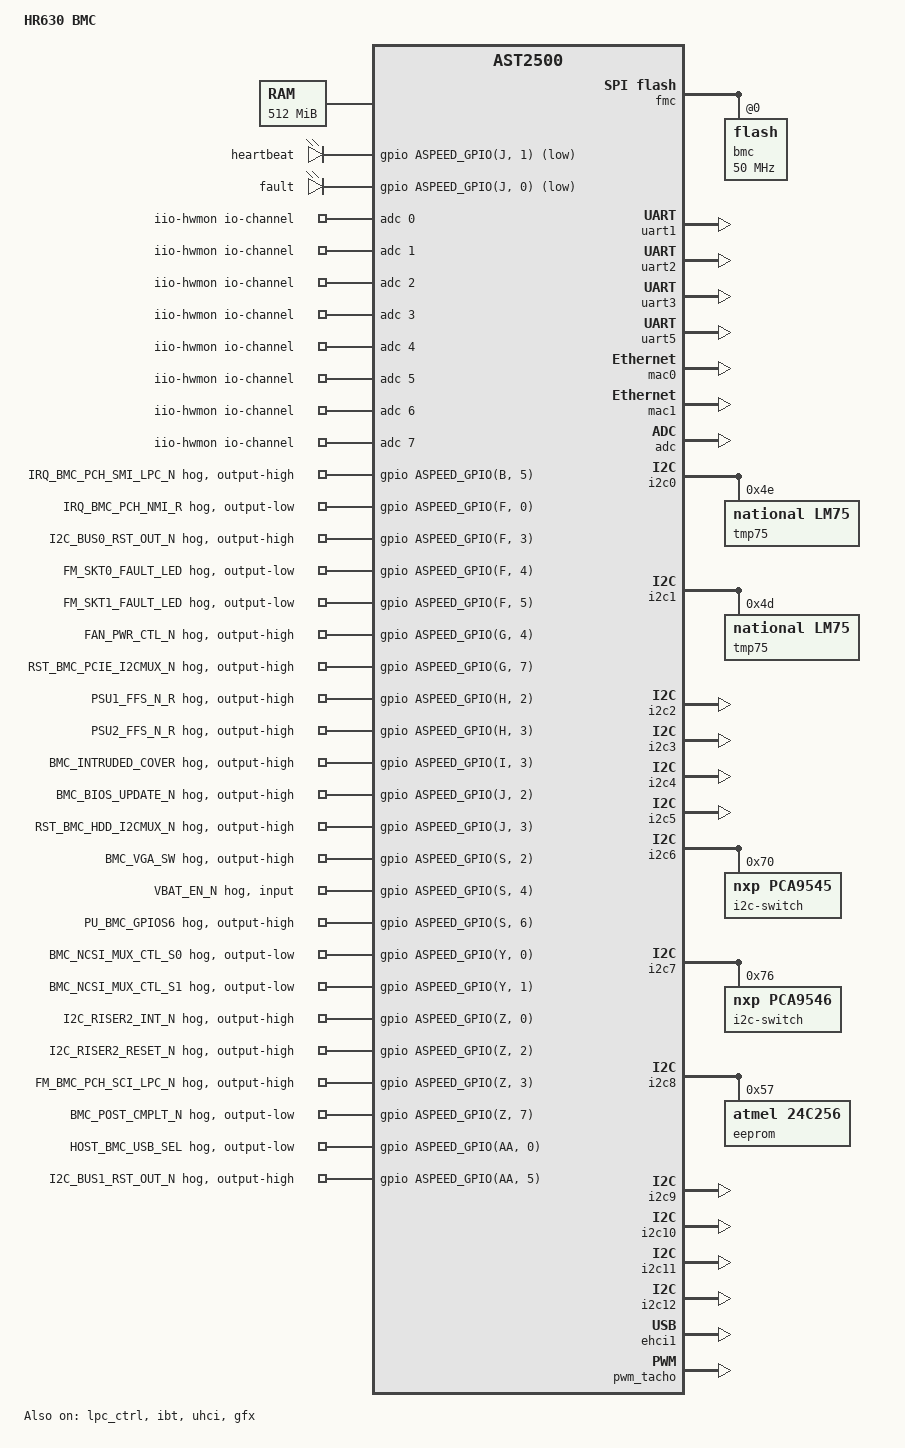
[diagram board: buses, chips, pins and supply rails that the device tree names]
// SPDX-License-Identifier: GPL-2.0+
/*
 * Device Tree file for Lenovo Hr630 platform
 *
 * Copyright (C) 2019-present Lenovo
 */

/dts-v1/;

#include "aspeed-g5.dtsi"
#include <dt-bindings/gpio/aspeed-gpio.h>

/ {
	model = "HR630 BMC";
	compatible = "lenovo,hr630-bmc", "aspeed,ast2500";

	aliases {
		i2c14 = &i2c_rbp;
		i2c15 = &i2c_fbp1;
		i2c16 = &i2c_fbp2;
		i2c17 = &i2c_fbp3;
		i2c18 = &i2c_riser2;
		i2c19 = &i2c_pcie4;
		i2c20 = &i2c_riser1;
		i2c21 = &i2c_ocp;
	};

	chosen {
		stdout-path = &uart5;
		bootargs = "console=tty0 console=ttyS4,115200 earlyprintk";
	};

	memory@80000000 {
		device_type = "memory";
		reg = <0x80000000 0x20000000>;
	};

	reserved-memory {
		#address-cells = <1>;
		#size-cells = <1>;
		ranges;

		flash_memory: region@98000000 {
			no-map;
			reg = <0x98000000 0x00100000>; /* 1M */
		};

		gfx_memory: framebuffer {
			size = <0x01000000>;
			alignment = <0x01000000>;
			compatible = "shared-dma-pool";
			reusable;
		};
	};

	leds {
		compatible = "gpio-leds";

		heartbeat {
			gpios = <&gpio ASPEED_GPIO(J, 1) GPIO_ACTIVE_LOW>;
		};

		fault {
			gpios = <&gpio ASPEED_GPIO(J, 0) GPIO_ACTIVE_LOW>;
		};
	};

	iio-hwmon {
		compatible = "iio-hwmon";
		io-channels = <&adc 0>, <&adc 1>, <&adc 2>, <&adc 3>,
		<&adc 4>, <&adc 5>, <&adc 6>, <&adc 7>,
		<&adc 8>, <&adc 9>, <&adc 10>,
		<&adc 12>, <&adc 13>, <&adc 14>;
	};

};

&fmc {
	status = "okay";
	flash@0 {
		status = "okay";
		m25p,fast-read;
		label = "bmc";
		spi-max-frequency = <50000000>;
#include "openbmc-flash-layout.dtsi"
	};
};

&lpc_ctrl {
	status = "okay";
	memory-region = <&flash_memory>;
	flash = <&spi1>;
};

&uart1 {
	status = "okay";
	pinctrl-names = "default";
	pinctrl-0 = <&pinctrl_txd1_default
			&pinctrl_rxd1_default>;
};

&uart2 {
	/* Rear RS-232 connector */
	status = "okay";
	pinctrl-names = "default";
	pinctrl-0 = <&pinctrl_txd2_default
			&pinctrl_rxd2_default
			&pinctrl_nrts2_default
			&pinctrl_ndtr2_default
			&pinctrl_ndsr2_default
			&pinctrl_ncts2_default
			&pinctrl_ndcd2_default
			&pinctrl_nri2_default>;
};

&uart3 {
	status = "okay";
	pinctrl-names = "default";
	pinctrl-0 = <&pinctrl_txd3_default
			&pinctrl_rxd3_default>;
};

&uart5 {
	status = "okay";
};

&ibt {
	status = "okay";
};

&mac0 {
	status = "okay";

	pinctrl-names = "default";
	pinctrl-0 = <&pinctrl_rmii1_default>;
	clocks = <&syscon ASPEED_CLK_GATE_MAC1CLK>,
		 <&syscon ASPEED_CLK_MAC1RCLK>;
	clock-names = "MACCLK", "RCLK";
	use-ncsi;
};

&mac1 {
	status = "okay";

	pinctrl-names = "default";
	pinctrl-0 = <&pinctrl_rgmii2_default &pinctrl_mdio2_default>;
};

&adc {
	status = "okay";

	pinctrl-names = "default";
	pinctrl-0 = <&pinctrl_adc0_default
			&pinctrl_adc1_default
			&pinctrl_adc2_default
			&pinctrl_adc3_default
			&pinctrl_adc4_default
			&pinctrl_adc5_default
			&pinctrl_adc6_default
			&pinctrl_adc7_default
			&pinctrl_adc8_default
			&pinctrl_adc9_default
			&pinctrl_adc10_default
			&pinctrl_adc12_default
			&pinctrl_adc13_default
			&pinctrl_adc14_default>;
};

&i2c0 {
	status = "okay";
	/* temp1 inlet */
	tmp75@4e {
		compatible = "national,lm75";
		reg = <0x4e>;
	};
};

&i2c1 {
	status = "okay";
	/* temp2 outlet */
	tmp75@4d {
		compatible = "national,lm75";
		reg = <0x4d>;
	};
};

&i2c2 {
	status = "okay";
};

&i2c3 {
	status = "okay";
};

&i2c4 {
	status = "okay";
};

&i2c5 {
	status = "okay";
};

&i2c6 {
	status = "okay";
	/*	Slot 0,
	 *	Slot 1,
	 *	Slot 2,
	 *	Slot 3
	 */

	i2c-switch@70 {
		compatible = "nxp,pca9545";
		reg = <0x70>;
		#address-cells = <1>;
		#size-cells = <0>;
		i2c-mux-idle-disconnect;	/* may use mux@70 next. */

		i2c_rbp: i2c@0 {
			#address-cells = <1>;
			#size-cells = <0>;
			reg = <0>;
		};

		i2c_fbp1: i2c@1 {
			#address-cells = <1>;
			#size-cells = <0>;
			reg = <1>;
		};

		i2c_fbp2: i2c@2 {
			#address-cells = <1>;
			#size-cells = <0>;
			reg = <2>;
		};

		i2c_fbp3: i2c@3 {
			#address-cells = <1>;
			#size-cells = <0>;
			reg = <3>;
		};
	};
};

&i2c7 {
	status = "okay";

	/*	Slot 0,
	 *	Slot 1,
	 *	Slot 2,
	 *	Slot 3
	 */
	i2c-switch@76 {
		compatible = "nxp,pca9546";
		reg = <0x76>;
		#address-cells = <1>;
		#size-cells = <0>;
		i2c-mux-idle-disconnect;  /* may use mux@76 next. */

		i2c_riser2: i2c@0 {
			#address-cells = <1>;
			#size-cells = <0>;
			reg = <0>;
		};

		i2c_pcie4: i2c@1 {
			#address-cells = <1>;
			#size-cells = <0>;
			reg = <1>;
		};

		i2c_riser1: i2c@2 {
			#address-cells = <1>;
			#size-cells = <0>;
			reg = <2>;
		};

		i2c_ocp: i2c@3 {
			#address-cells = <1>;
			#size-cells = <0>;
			reg = <3>;
		};
	};
};

&i2c8 {
	status = "okay";

	eeprom@57 {
		compatible = "atmel,24c256";
		reg = <0x57>;
		pagesize = <16>;
	};
};

&i2c9 {
	status = "okay";
};

&i2c10 {
	status = "okay";
};

&i2c11 {
	status = "okay";
};

&i2c12 {
	status = "okay";
};

&ehci1 {
	status = "okay";
};

&uhci {
	status = "okay";
};

&gfx {
	status = "okay";
	memory-region = <&gfx_memory>;
};

&pwm_tacho {
	status = "okay";
	pinctrl-names = "default";
	pinctrl-0 = <&pinctrl_pwm0_default
	&pinctrl_pwm1_default
	&pinctrl_pwm2_default
	&pinctrl_pwm3_default
	&pinctrl_pwm4_default
	&pinctrl_pwm5_default
	&pinctrl_pwm6_default>;

	fan@0 {
		reg = <0x00>;
		aspeed,fan-tach-ch = /bits/ 8 <0x00>;
	};

	fan@1 {
		reg = <0x00>;
		aspeed,fan-tach-ch = /bits/ 8 <0x01>;
	};

	fan@2 {
		reg = <0x01>;
		aspeed,fan-tach-ch = /bits/ 8 <0x02>;
	};

	fan@3 {
		reg = <0x01>;
		aspeed,fan-tach-ch = /bits/ 8 <0x03>;
	};

	fan@4 {
		reg = <0x02>;
		aspeed,fan-tach-ch = /bits/ 8 <0x04>;
	};

	fan@5 {
		reg = <0x02>;
		aspeed,fan-tach-ch = /bits/ 8 <0x05>;
	};

	fan@6 {
		reg = <0x03>;
		aspeed,fan-tach-ch = /bits/ 8 <0x06>;
	};

	fan@7 {
		reg = <0x03>;
		aspeed,fan-tach-ch = /bits/ 8 <0x07>;
	};

	fan@8 {
		reg = <0x04>;
		aspeed,fan-tach-ch = /bits/ 8 <0x08>;
	};

	fan@9 {
		reg = <0x04>;
		aspeed,fan-tach-ch = /bits/ 8 <0x09>;
	};

	fan@10 {
		reg = <0x05>;
		aspeed,fan-tach-ch = /bits/ 8 <0x0a>;
	};

	fan@11 {
		reg = <0x05>;
		aspeed,fan-tach-ch = /bits/ 8 <0x0b>;
	};

	fan@12 {
		reg = <0x06>;
		aspeed,fan-tach-ch = /bits/ 8 <0x0c>;
	};

	fan@13 {
		reg = <0x06>;
		aspeed,fan-tach-ch = /bits/ 8 <0x0d>;
	};
};

&gpio {

	pin_gpio_b5 {
		gpio-hog;
		gpios = <ASPEED_GPIO(B, 5) GPIO_ACTIVE_HIGH>;
		output-high;
		line-name = "IRQ_BMC_PCH_SMI_LPC_N";
	};

	pin_gpio_f0 {
		gpio-hog;
		gpios = <ASPEED_GPIO(F, 0) GPIO_ACTIVE_HIGH>;
		output-low;
		line-name = "IRQ_BMC_PCH_NMI_R";
	};

	pin_gpio_f3 {
		gpio-hog;
		gpios = <ASPEED_GPIO(F, 3) GPIO_ACTIVE_HIGH>;
		output-high;
		line-name = "I2C_BUS0_RST_OUT_N";
	};

	pin_gpio_f4 {
		gpio-hog;
		gpios = <ASPEED_GPIO(F, 4) GPIO_ACTIVE_HIGH>;
		output-low;
		line-name = "FM_SKT0_FAULT_LED";
	};

	pin_gpio_f5 {
		gpio-hog;
		gpios = <ASPEED_GPIO(F, 5) GPIO_ACTIVE_HIGH>;
		output-low;
		line-name = "FM_SKT1_FAULT_LED";
	};

	pin_gpio_g4 {
		gpio-hog;
		gpios = <ASPEED_GPIO(G, 4) GPIO_ACTIVE_HIGH>;
		output-high;
		line-name = "FAN_PWR_CTL_N";
	};

	pin_gpio_g7 {
		gpio-hog;
		gpios = <ASPEED_GPIO(G, 7) GPIO_ACTIVE_HIGH>;
		output-high;
		line-name = "RST_BMC_PCIE_I2CMUX_N";
	};

	pin_gpio_h2 {
		gpio-hog;
		gpios = <ASPEED_GPIO(H, 2) GPIO_ACTIVE_HIGH>;
		output-high;
		line-name = "PSU1_FFS_N_R";
	};

	pin_gpio_h3 {
		gpio-hog;
		gpios = <ASPEED_GPIO(H, 3) GPIO_ACTIVE_HIGH>;
		output-high;
		line-name = "PSU2_FFS_N_R";
	};

	pin_gpio_i3 {
		gpio-hog;
		gpios = <ASPEED_GPIO(I, 3) GPIO_ACTIVE_HIGH>;
		output-high;
		line-name = "BMC_INTRUDED_COVER";
	};

	pin_gpio_j2 {
		gpio-hog;
		gpios = <ASPEED_GPIO(J, 2) GPIO_ACTIVE_HIGH>;
		output-high;
		line-name = "BMC_BIOS_UPDATE_N";
	};

	pin_gpio_j3 {
		gpio-hog;
		gpios = <ASPEED_GPIO(J, 3) GPIO_ACTIVE_HIGH>;
		output-high;
		line-name = "RST_BMC_HDD_I2CMUX_N";
	};

	pin_gpio_s2 {
		gpio-hog;
		gpios = <ASPEED_GPIO(S, 2) GPIO_ACTIVE_HIGH>;
		output-high;
		line-name = "BMC_VGA_SW";
	};

	pin_gpio_s4 {
		gpio-hog;
		gpios = <ASPEED_GPIO(S, 4) GPIO_ACTIVE_HIGH>;
		output;
		line-name = "VBAT_EN_N";
	};

	pin_gpio_s6 {
		gpio-hog;
		gpios = <ASPEED_GPIO(S, 6) GPIO_ACTIVE_HIGH>;
		output-high;
		line-name = "PU_BMC_GPIOS6";
	};

	pin_gpio_y0 {
		gpio-hog;
		gpios = <ASPEED_GPIO(Y, 0) GPIO_ACTIVE_HIGH>;
		output-low;
		line-name = "BMC_NCSI_MUX_CTL_S0";
	};

	pin_gpio_y1 {
		gpio-hog;
		gpios = <ASPEED_GPIO(Y, 1) GPIO_ACTIVE_HIGH>;
		output-low;
		line-name = "BMC_NCSI_MUX_CTL_S1";
	};

	pin_gpio_z0 {
		gpio-hog;
		gpios = <ASPEED_GPIO(Z, 0) GPIO_ACTIVE_HIGH>;
		output-high;
		line-name = "I2C_RISER2_INT_N";
	};

	pin_gpio_z2 {
		gpio-hog;
		gpios = <ASPEED_GPIO(Z, 2) GPIO_ACTIVE_HIGH>;
		output-high;
		line-name = "I2C_RISER2_RESET_N";
	};

	pin_gpio_z3 {
		gpio-hog;
		gpios = <ASPEED_GPIO(Z, 3) GPIO_ACTIVE_HIGH>;
		output-high;
		line-name = "FM_BMC_PCH_SCI_LPC_N";
	};

	pin_gpio_z7 {
		gpio-hog;
		gpios = <ASPEED_GPIO(Z, 7) GPIO_ACTIVE_HIGH>;
		output-low;
		line-name = "BMC_POST_CMPLT_N";
	};

	pin_gpio_aa0 {
		gpio-hog;
		gpios = <ASPEED_GPIO(AA, 0) GPIO_ACTIVE_HIGH>;
		output-low;
		line-name = "HOST_BMC_USB_SEL";
	};

	pin_gpio_aa5 {
		gpio-hog;
		gpios = <ASPEED_GPIO(AA, 5) GPIO_ACTIVE_HIGH>;
		output-high;
		line-name = "I2C_BUS1_RST_OUT_N";
	};

};
